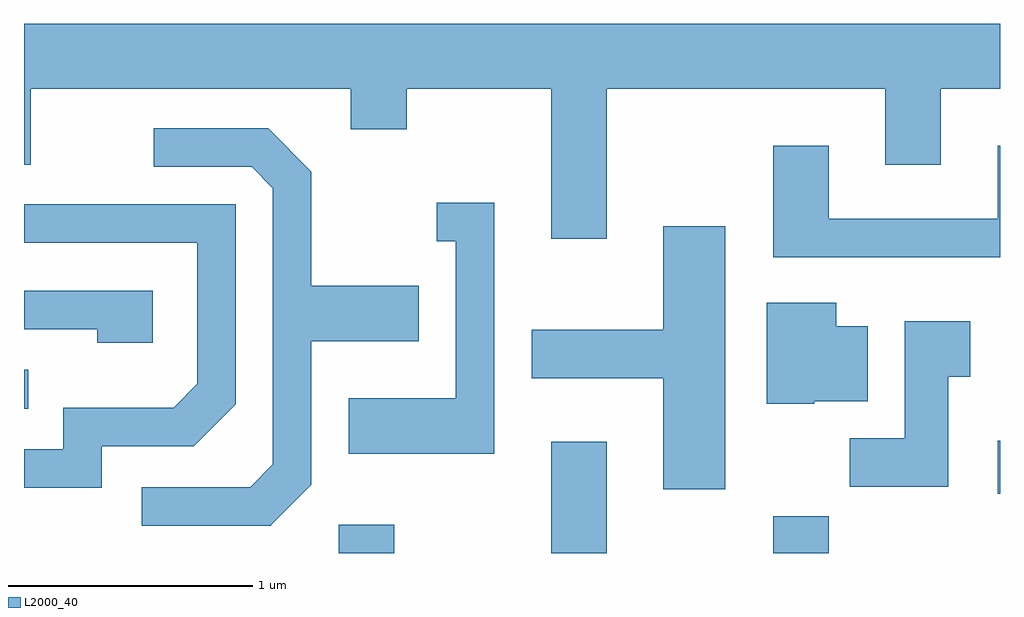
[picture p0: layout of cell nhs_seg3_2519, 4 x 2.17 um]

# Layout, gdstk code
import gdstk
lib = gdstk.Library(unit=1e-6, precision=1e-09)
def R(c, l, rs):  # rectangles x0, y0, x1, y1
    for r in rs: c.add(gdstk.rectangle(r[:2], r[2:], *l))
def P(c, l, *ps):  # polygons
    for p in ps: c.add(gdstk.Polygon(p, *l))
L2000_40 = (2000, 40)

nhs_seg3_2519 = lib.new_cell('nhs_seg3_2519')
R(nhs_seg3_2519, L2000_40, [(260.901,1121.892,261.129,1122.009), (261.771,1121.892,261.999,1122.349), (262.681,1121.892,262.909,1122.044), (263.601,1122.136,263.611,1122.354), (259.611,1122.486,259.628,1122.644)])
P(nhs_seg3_2519, L2000_40, [(261.999,1123.796),(263.141,1123.796),(263.141,1123.486),(263.369,1123.486),(263.369,1123.796),(263.611,1123.796),(263.611,1124.064),(259.611,1124.064),(259.611,1123.486),(259.639,1123.486),(259.639,1123.796),(260.951,1123.796),(260.951,1123.631),(261.179,1123.631),(261.179,1123.796),(261.771,1123.796),(261.771,1123.181),(261.999,1123.181)],
  [(260.628,1122.013),(260.789,1122.174),(260.789,1122.761),(261.229,1122.761),(261.229,1122.989),(260.789,1122.989),(260.789,1123.457),(260.611,1123.634),(260.142,1123.634),(260.142,1123.476),(260.544,1123.476),(260.631,1123.389),(260.631,1122.257),(260.539,1122.164),(260.093,1122.164),(260.093,1122.006),(260.622,1122.006)],
  [(263.611,1123.564),(263.601,1123.564),(263.601,1123.264),(262.909,1123.264),(262.909,1123.564),(262.681,1123.564),(262.681,1123.106),(263.611,1123.106)],
  [(261.539,1123.329),(261.303,1123.329),(261.303,1123.171),(261.381,1123.171),(261.381,1122.529),(260.941,1122.529),(260.941,1122.301),(261.539,1122.301)],
  [(259.929,1122.331),(260.307,1122.331),(260.479,1122.504),(260.479,1123.324),(259.611,1123.324),(259.611,1123.166),(260.321,1123.166),(260.321,1122.587),(260.224,1122.489),(259.771,1122.489),(259.771,1122.319),(259.611,1122.319),(259.611,1122.161),(259.929,1122.161)],
  [(262.484,1123.234),(262.231,1123.234),(262.231,1122.809),(261.691,1122.809),(261.691,1122.611),(262.231,1122.611),(262.231,1122.156),(262.484,1122.156)],
  [(260.139,1122.969),(259.611,1122.969),(259.611,1122.811),(259.911,1122.811),(259.911,1122.756),(260.139,1122.756)],
  [(262.85,1122.516),(263.069,1122.516),(263.069,1122.824),(262.939,1122.824),(262.939,1122.919),(262.656,1122.919),(262.656,1122.506),(262.85,1122.506)],
  [(263.399,1122.616),(263.489,1122.616),(263.489,1122.844),(263.221,1122.844),(263.221,1122.364),(262.996,1122.364),(262.996,1122.166),(263.399,1122.166)])

lib.write_gds('nhs_seg3_2519.gds')
